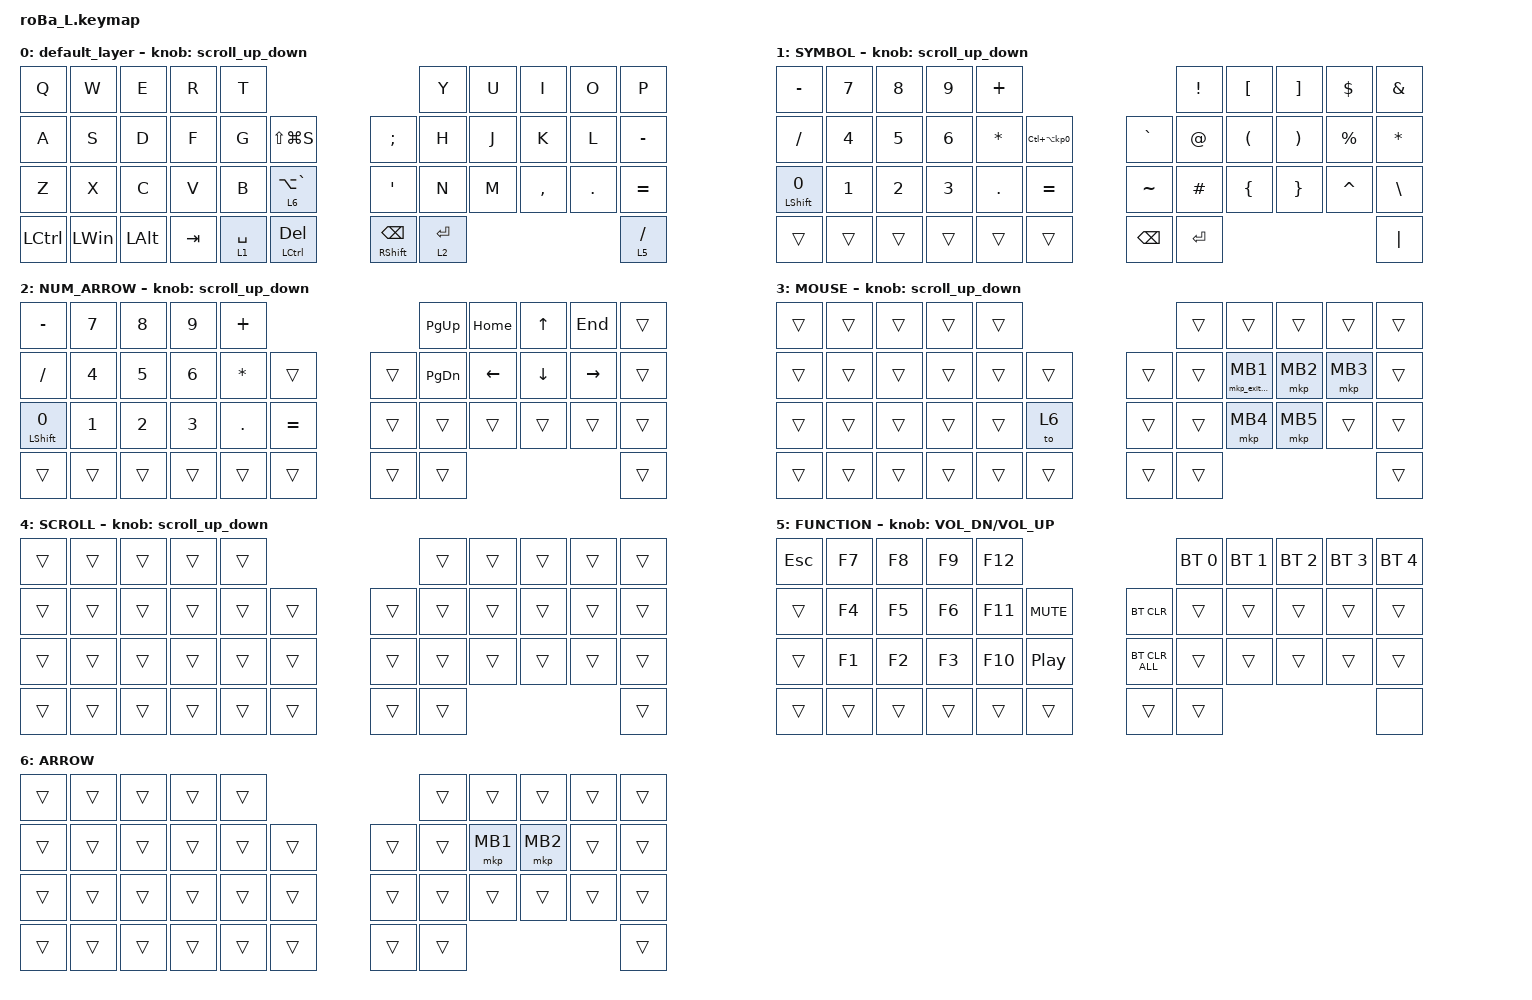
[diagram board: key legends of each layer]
#include <input/processors.dtsi>
#include <behaviors.dtsi>
#include <dt-bindings/zmk/bt.h>
#include <dt-bindings/zmk/keys.h>
#include <dt-bindings/zmk/pointing.h>

#define MOUSE 3
#define SCROLL 4
#define NUM 2
#define ZMK_POINTING_DEFAULT_SCRL_VAL 100

&mt { quick-tap-ms = <200>; };

&sl { release-after-ms = <150>; };

&lt { quick-tap-ms = <200>; };

/ {
    combos {
        compatible = "zmk,combos";

        alt_tab {
            bindings = <&kp LEFT_ALT>;
            key-positions = <12 13>;
        };

        to_scroll {
            bindings = <&mo 4>;
            key-positions = <18 19>;
        };

        win_tab {
            bindings = <&kp LG(TAB)>;
            key-positions = <24 25>;
        };

        win_shift_right {
            bindings = <&kp LG(LS(RIGHT))>;
            key-positions = <13 20>;
        };

        win_shift_left {
            bindings = <&kp LS(LG(LEFT))>;
            key-positions = <13 18>;
        };

        win_shift_up {
            bindings = <&kp LS(LG(UP_ARROW))>;
            key-positions = <13 7>;
        };

        win_shift_down {
            bindings = <&kp LS(LG(DOWN_ARROW))>;
            key-positions = <13 19>;
        };

        change {
            bindings = <&kp LA(GRAVE)>;
            key-positions = <38 41>;
        };

        change2 {
            bindings = <&kp LG(SPACE)>;
            key-positions = <39 40>;
        };
    };

    macros {
        tog_off: toggle_layer_off {
            compatible = "zmk,behavior-toggle-layer";
            #binding-cells = <1>;
            display-name = "Toggle Layer Off";
            toggle-mode = "off";
        };

        to_layer_0: to_layer_0 {
            compatible = "zmk,behavior-macro-one-param";
            #binding-cells = <1>;
            bindings = <&to 0 &macro_param_1to1 &kp MACRO_PLACEHOLDER>;
            label = "TO_LAYER_0";
        };

        mkp_exit_AML: mkp_exit_AML {
            compatible = "zmk,behavior-macro-one-param";
            #binding-cells = <1>;
            bindings =
                <&macro_press>,
                <&macro_param_1to1 &mkp MACRO_PLACEHOLDER>,
                <&macro_pause_for_release>,
                <&macro_release>,
                <&macro_param_1to1 &mkp MACRO_PLACEHOLDER>,
                <&macro_tap>,
                <&sl 3>;

            label = "MKP_EXIT_AML";
        };
    };

    behaviors {
        scroll_up_down: mouse_wheel_up_down {
            compatible = "zmk,behavior-sensor-rotate";
            #sensor-binding-cells = <0>;
            bindings = <&msc SCRL_DOWN>, <&msc SCRL_UP>;

            tap-ms = <20>;
        };
    };

    keymap {
        compatible = "zmk,keymap";

        default_layer {
            bindings = <
&kp Q      &kp W         &kp E         &kp R    &kp T                                                             &kp Y        &kp U  &kp I      &kp O       &kp P
&kp A      &kp S         &kp D         &kp F    &kp G        &kp LS(LG(S))             &kp SEMICOLON              &kp H        &kp J  &kp K      &kp L       &kp MINUS
&kp Z      &kp X         &kp C         &kp V    &kp B        &lt 6 LA(GRAVE)           &kp SINGLE_QUOTE           &kp N        &kp M  &kp COMMA  &kp PERIOD  &kp EQUAL
&kp LCTRL  &kp LEFT_WIN  &kp LEFT_ALT  &kp TAB  &lt 1 SPACE  &mt LEFT_CONTROL DEL      &mt RIGHT_SHIFT BACKSPACE  &lt 2 ENTER                                &lt 5 SLASH
            >;

            sensor-bindings = <&scroll_up_down>;
        };

        SYMBOL {
            bindings = <
&kp MINUS          &kp N7        &kp N8        &kp N9        &kp PLUS                                                  &kp EXCLAMATION  &kp LEFT_BRACKET      &kp RIGHT_BRACKET      &kp DOLLAR   &kp AMPERSAND
&kp SLASH          &kp NUMBER_4  &kp N5        &kp NUMBER_6  &kp ASTERISK  &kp LC(LA(KP_NUMBER_0))      &kp GRAVE      &kp AT_SIGN      &kp LEFT_PARENTHESIS  &kp RIGHT_PARENTHESIS  &kp PERCENT  &kp ASTRK
&mt LEFT_SHIFT N0  &kp NUMBER_1  &kp NUMBER_2  &kp NUMBER_3  &kp PERIOD    &kp EQUAL                    &kp TILDE      &kp HASH         &kp LEFT_BRACE        &kp RIGHT_BRACE        &kp CARET    &kp BACKSLASH
&trans             &trans        &trans        &trans        &trans        &trans                       &kp BACKSPACE  &kp ENTER                                                                  &kp PIPE
            >;

            sensor-bindings = <&scroll_up_down>;
        };

        NUM_ARROW {
            bindings = <
&kp MINUS          &kp NUMBER_7  &kp N8        &kp N9        &kp PLUS                             &kp PAGE_UP    &kp HOME        &kp UP_ARROW    &kp END          &trans
&kp SLASH          &kp NUMBER_4  &kp N5        &kp NUMBER_6  &kp ASTERISK  &trans         &trans  &kp PAGE_DOWN  &kp LEFT_ARROW  &kp DOWN_ARROW  &kp RIGHT_ARROW  &trans
&mt LEFT_SHIFT N0  &kp NUMBER_1  &kp NUMBER_2  &kp NUMBER_3  &kp PERIOD    &kp EQUAL      &trans  &trans         &trans          &trans          &trans           &trans
&trans             &trans        &trans        &trans        &trans        &trans         &trans  &trans                                                          &trans
            >;

            sensor-bindings = <&scroll_up_down>;
        };

        MOUSE {
            bindings = <
&trans  &trans  &trans  &trans  &trans                      &trans  &trans             &trans    &trans    &trans
&trans  &trans  &trans  &trans  &trans  &trans      &trans  &trans  &mkp_exit_AML MB1  &mkp MB2  &mkp MB3  &trans
&trans  &trans  &trans  &trans  &trans  &to 6       &trans  &trans  &mkp MB4           &mkp MB5  &trans    &trans
&trans  &trans  &trans  &trans  &trans  &trans      &trans  &trans                                         &trans
            >;

            sensor-bindings = <&scroll_up_down>;
        };

        SCROLL {
            bindings = <
&trans  &trans  &trans  &trans  &trans                      &trans  &trans  &trans  &trans  &trans
&trans  &trans  &trans  &trans  &trans  &trans      &trans  &trans  &trans  &trans  &trans  &trans
&trans  &trans  &trans  &trans  &trans  &trans      &trans  &trans  &trans  &trans  &trans  &trans
&trans  &trans  &trans  &trans  &trans  &trans      &trans  &trans                          &trans
            >;

            sensor-bindings = <&scroll_up_down>;
        };

        FUNCTION {
            bindings = <
&kp ESCAPE  &kp F7  &kp F8  &kp F9  &kp F12                                        &bt BT_SEL 0  &bt BT_SEL 1  &bt BT_SEL 2  &bt BT_SEL 3  &bt BT_SEL 4
&trans      &kp F4  &kp F5  &kp F6  &kp F11  &kp C_MUTE            &bt BT_CLR      &trans        &trans        &trans        &trans        &trans
&trans      &kp F1  &kp F2  &kp F3  &kp F10  &kp C_PLAY_PAUSE      &bt BT_CLR_ALL  &trans        &trans        &trans        &trans        &trans
&trans      &trans  &trans  &trans  &trans   &trans                &trans          &trans                                                  &none
            >;

            sensor-bindings = <&inc_dec_kp C_VOL_DN C_VOL_UP>;
        };

        ARROW {
            bindings = <
&trans  &trans  &trans  &trans  &trans                      &trans  &trans    &trans    &trans  &trans
&trans  &trans  &trans  &trans  &trans  &trans      &trans  &trans  &mkp MB1  &mkp MB2  &trans  &trans
&trans  &trans  &trans  &trans  &trans  &trans      &trans  &trans  &trans    &trans    &trans  &trans
&trans  &trans  &trans  &trans  &trans  &trans      &trans  &trans                              &trans
            >;
        };
    };
};
